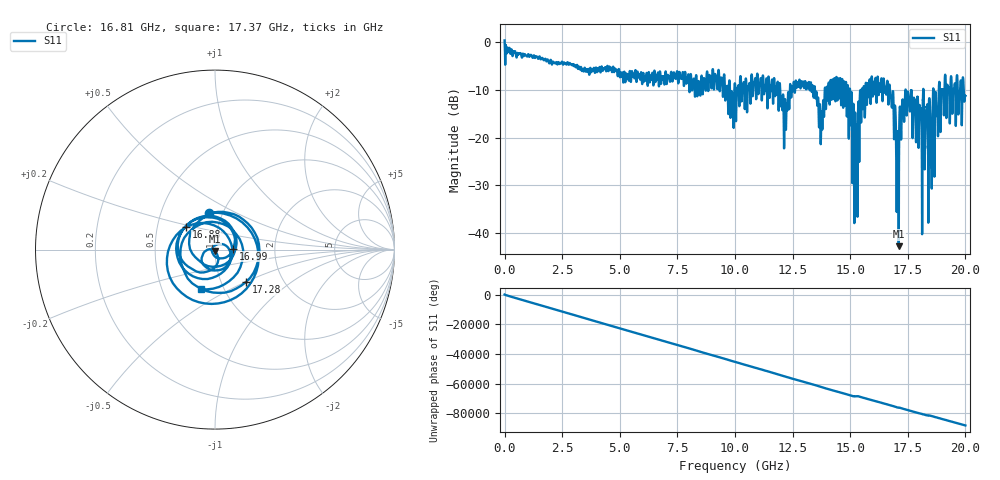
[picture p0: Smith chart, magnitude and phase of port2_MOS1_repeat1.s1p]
! MS46122B
! 2250307/22442219
! 7/23/2025 8:02:01 AM
! C:\USERS\SPARKY\DOCUMENTS\VNA_DATA\JULY23_2025\3K\PORT2_MOS1_REPEAT1.S1P
! CHANNEL.1
! TR.MEASUREMENT
! RAW.DATA
# GHZ S RI R 50.0
! FREQ.GHZ  S11RE  S11IM
!; PortSelection: Port_1
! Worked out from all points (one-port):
!   10001 points, 1 MHz to 20 GHz, reference 50 ohm
!   lowest |S11| = -42.8 dB at 17.11 GHz (marker M1), VSWR 1.01, Z = 49.8 - j0.699 ohm
!   |S11| at or under -10 dB: 14.99 GHz to 15.51 GHz (514.6 MHz wide, 3.37 % of centre); 16.73 GHz to 17.4 GHz (672.6 MHz wide, 3.94 % of centre); 17.41 GHz to 18.17 GHz (761.6 MHz wide, 4.28 % of centre) (the widest 3 of 83)
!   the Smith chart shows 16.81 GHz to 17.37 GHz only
!   S11 on the Smith chart (normalised r, x): 16.81 GHz: 0.86, +0.37; 16.88 GHz: 0.70, +0.18; 16.99 GHz: 1.23, +0.01; 17.28 GHz: 1.31, -0.50; 17.37 GHz: 0.78, -0.37
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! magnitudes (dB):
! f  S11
! 1 MHz  0.4
! 2.501 GHz  -4.1
! 5.001 GHz  -7.3
! 7.501 GHz  -6.3
! 9.215 GHz  -8.6
! 10 GHz  -8.7
! 11.04 GHz  -8.9
! 12.2 GHz  -15.5
! 12.5 GHz  -10.0
! 13.29 GHz  -8.4
! 13.72 GHz  -21.0
! 14.24 GHz  -7.8
! 15 GHz  -11.4
! 15.25 GHz  -29.8
! 15.51 GHz  -9.9
! 15.76 GHz  -8.6
! 16.81 GHz  -13.7
! 16.88 GHz  -13.8
! 16.99 GHz  -19.8
! 17.11 GHz  -42.8
! 17.28 GHz  -12.1
! 17.37 GHz  -12.6
! 17.5 GHz  -10.4
! 18.19 GHz  -11.0
! 18.38 GHz  -23.6
! 18.47 GHz  -15.8
! 19.05 GHz  -11.4
! 20 GHz  -11.3
